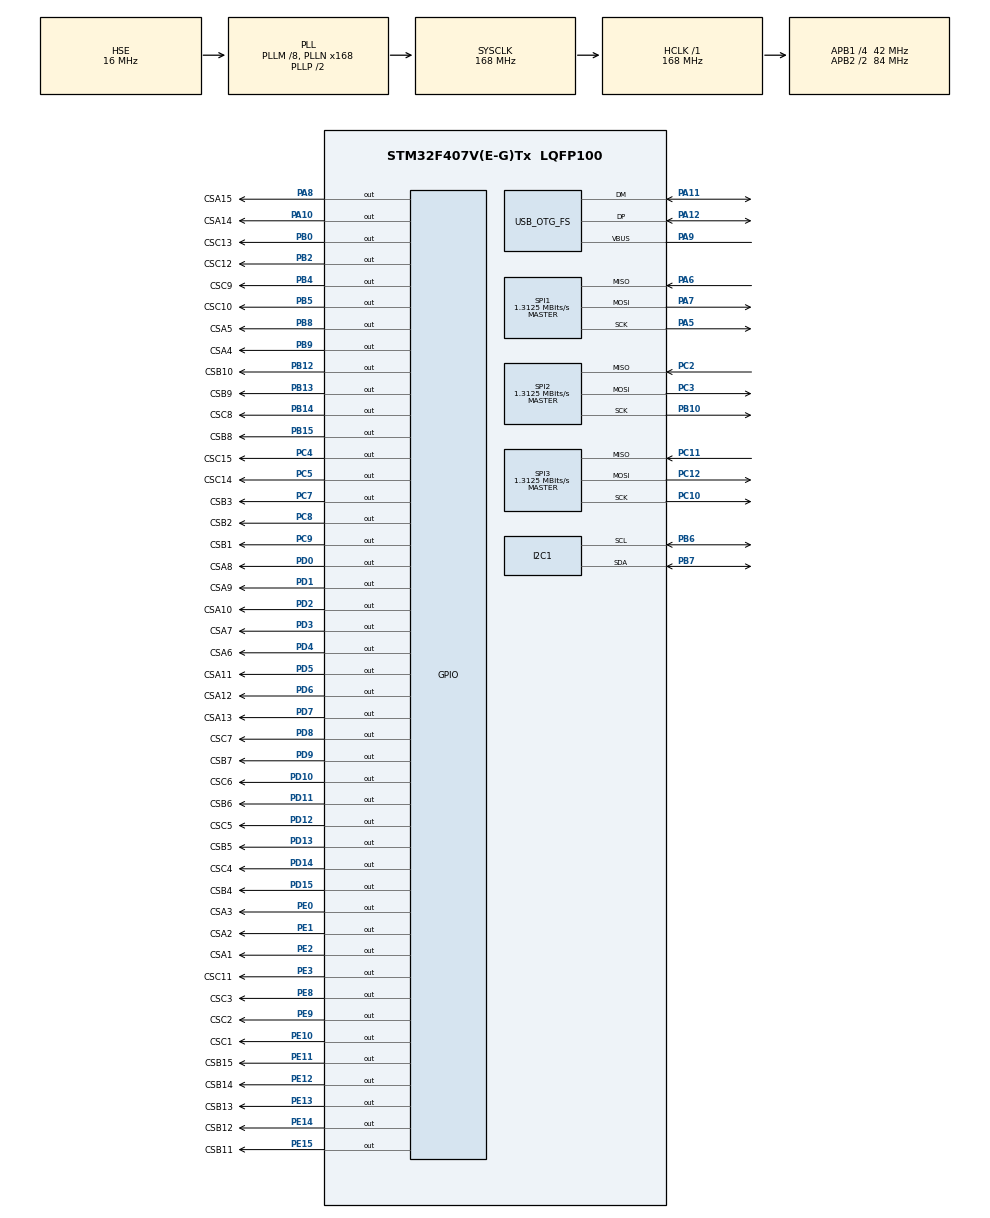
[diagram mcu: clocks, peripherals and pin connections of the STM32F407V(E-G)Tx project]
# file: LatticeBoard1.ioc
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Mcu.Family=STM32F4
Mcu.Name=STM32F407V(E-G)Tx
Mcu.Package=LQFP100
NVIC.OTG_FS_IRQn=true\:0\:0\:false\:false\:true\:false\:true\:true
NVIC.PriorityGroup=NVIC_PRIORITYGROUP_4
PA10.GPIO_Label=CSA14
PA10.GPIO_Speed=GPIO_SPEED_FREQ_HIGH
PA10.PinState=GPIO_PIN_SET
PA10.Signal=GPIO_Output
PA11.Mode=Device_Only
PA11.Signal=USB_OTG_FS_DM
PA12.Mode=Device_Only
PA12.Signal=USB_OTG_FS_DP
PA13.Mode=Trace_Asynchronous_SW
PA13.Signal=SYS_JTMS-SWDIO
PA14.Mode=Trace_Asynchronous_SW
PA14.Signal=SYS_JTCK-SWCLK
PA5.Mode=Full_Duplex_Master
PA5.Signal=SPI1_SCK
PA6.Mode=Full_Duplex_Master
PA6.Signal=SPI1_MISO
PA7.Mode=Full_Duplex_Master
PA7.Signal=SPI1_MOSI
PA8.GPIO_Label=CSA15
PA8.GPIO_Speed=GPIO_SPEED_FREQ_HIGH
PA8.PinState=GPIO_PIN_SET
PA8.Signal=GPIO_Output
PA9.Mode=Activate_VBUS
PA9.Signal=USB_OTG_FS_VBUS
PB0.GPIO_Label=CSC13
PB0.GPIO_Speed=GPIO_SPEED_FREQ_HIGH
PB0.PinState=GPIO_PIN_SET
PB0.Signal=GPIO_Output
PB10.Mode=Full_Duplex_Master
PB10.Signal=SPI2_SCK
PB12.GPIO_Label=CSB10
PB12.GPIO_Speed=GPIO_SPEED_FREQ_HIGH
PB12.PinState=GPIO_PIN_SET
PB12.Signal=GPIO_Output
PB13.GPIO_Label=CSB9
PB13.GPIO_Speed=GPIO_SPEED_FREQ_HIGH
PB13.PinState=GPIO_PIN_SET
PB13.Signal=GPIO_Output
PB14.GPIO_Label=CSC8
PB14.GPIO_Speed=GPIO_SPEED_FREQ_HIGH
PB14.PinState=GPIO_PIN_SET
PB14.Signal=GPIO_Output
PB15.GPIO_Label=CSB8
PB15.GPIO_Speed=GPIO_SPEED_FREQ_HIGH
PB15.PinState=GPIO_PIN_SET
PB15.Signal=GPIO_Output
PB2.GPIO_Label=CSC12
PB2.GPIO_Speed=GPIO_SPEED_FREQ_HIGH
PB2.PinState=GPIO_PIN_SET
PB2.Signal=GPIO_Output
PB3.Mode=Trace_Asynchronous_SW
PB3.Signal=SYS_JTDO-SWO
PB4.GPIO_Label=CSC9
PB4.GPIO_Speed=GPIO_SPEED_FREQ_HIGH
PB4.PinState=GPIO_PIN_SET
PB4.Signal=GPIO_Output
PB5.GPIO_Label=CSC10
PB5.GPIO_Speed=GPIO_SPEED_FREQ_HIGH
PB5.PinState=GPIO_PIN_SET
PB5.Signal=GPIO_Output
PB6.Mode=I2C
PB6.Signal=I2C1_SCL
PB7.Mode=I2C
PB7.Signal=I2C1_SDA
PB8.GPIO_Label=CSA5
PB8.GPIO_Speed=GPIO_SPEED_FREQ_HIGH
PB8.PinState=GPIO_PIN_SET
PB8.Signal=GPIO_Output
PB9.GPIO_Label=CSA4
PB9.GPIO_Speed=GPIO_SPEED_FREQ_HIGH
PB9.PinState=GPIO_PIN_SET
PB9.Signal=GPIO_Output
PC10.Mode=Full_Duplex_Master
PC10.Signal=SPI3_SCK
PC11.Mode=Full_Duplex_Master
PC11.Signal=SPI3_MISO
PC12.Mode=Full_Duplex_Master
PC12.Signal=SPI3_MOSI
PC2.Mode=Full_Duplex_Master
PC2.Signal=SPI2_MISO
PC3.Mode=Full_Duplex_Master
PC3.Signal=SPI2_MOSI
PC4.GPIO_Label=CSC15
PC4.GPIO_Speed=GPIO_SPEED_FREQ_HIGH
PC4.PinState=GPIO_PIN_SET
PC4.Signal=GPIO_Output
PC5.GPIO_Label=CSC14
PC5.GPIO_Speed=GPIO_SPEED_FREQ_HIGH
PC5.PinState=GPIO_PIN_SET
PC5.Signal=GPIO_Output
PC7.GPIO_Label=CSB3
PC7.GPIO_Speed=GPIO_SPEED_FREQ_HIGH
PC7.PinState=GPIO_PIN_SET
PC7.Signal=GPIO_Output
PC8.GPIO_Label=CSB2
PC8.GPIO_Speed=GPIO_SPEED_FREQ_HIGH
PC8.PinState=GPIO_PIN_SET
PC8.Signal=GPIO_Output
PC9.GPIO_Label=CSB1
PC9.GPIO_Speed=GPIO_SPEED_FREQ_HIGH
PC9.PinState=GPIO_PIN_SET
PC9.Signal=GPIO_Output
PD0.GPIO_Label=CSA8
PD0.GPIO_Speed=GPIO_SPEED_FREQ_HIGH
PD0.PinState=GPIO_PIN_SET
PD0.Signal=GPIO_Output
PD1.GPIO_Label=CSA9
PD1.GPIO_Speed=GPIO_SPEED_FREQ_HIGH
PD1.PinState=GPIO_PIN_SET
PD1.Signal=GPIO_Output
PD10.GPIO_Label=CSC6
PD10.GPIO_Speed=GPIO_SPEED_FREQ_HIGH
PD10.PinState=GPIO_PIN_SET
PD10.Signal=GPIO_Output
PD11.GPIO_Label=CSB6
PD11.GPIO_Speed=GPIO_SPEED_FREQ_HIGH
PD11.PinState=GPIO_PIN_SET
PD11.Signal=GPIO_Output
PD12.GPIO_Label=CSC5
PD12.GPIO_Speed=GPIO_SPEED_FREQ_HIGH
PD12.PinState=GPIO_PIN_SET
PD12.Signal=GPIO_Output
PD13.GPIO_Label=CSB5
PD13.GPIO_Speed=GPIO_SPEED_FREQ_HIGH
PD13.PinState=GPIO_PIN_SET
PD13.Signal=GPIO_Output
PD14.GPIO_Label=CSC4
PD14.GPIO_Speed=GPIO_SPEED_FREQ_HIGH
PD14.PinState=GPIO_PIN_SET
PD14.Signal=GPIO_Output
PD15.GPIO_Label=CSB4
PD15.GPIO_Speed=GPIO_SPEED_FREQ_HIGH
PD15.PinState=GPIO_PIN_SET
PD15.Signal=GPIO_Output
PD2.GPIO_Label=CSA10
PD2.GPIO_Speed=GPIO_SPEED_FREQ_HIGH
PD2.PinState=GPIO_PIN_SET
PD2.Signal=GPIO_Output
PD3.GPIO_Label=CSA7
PD3.GPIO_Speed=GPIO_SPEED_FREQ_HIGH
PD3.PinState=GPIO_PIN_SET
PD3.Signal=GPIO_Output
PD4.GPIO_Label=CSA6
PD4.GPIO_Speed=GPIO_SPEED_FREQ_HIGH
PD4.PinState=GPIO_PIN_SET
PD4.Signal=GPIO_Output
PD5.GPIO_Label=CSA11
PD5.GPIO_Speed=GPIO_SPEED_FREQ_HIGH
PD5.PinState=GPIO_PIN_SET
PD5.Signal=GPIO_Output
PD6.GPIO_Label=CSA12
PD6.GPIO_Speed=GPIO_SPEED_FREQ_HIGH
PD6.PinState=GPIO_PIN_SET
PD6.Signal=GPIO_Output
PD7.GPIO_Label=CSA13
PD7.GPIO_Speed=GPIO_SPEED_FREQ_HIGH
PD7.PinState=GPIO_PIN_SET
PD7.Signal=GPIO_Output
PD8.GPIO_Label=CSC7
PD8.GPIO_Speed=GPIO_SPEED_FREQ_HIGH
PD8.PinState=GPIO_PIN_SET
PD8.Signal=GPIO_Output
PD9.GPIO_Label=CSB7
PD9.GPIO_Speed=GPIO_SPEED_FREQ_HIGH
PD9.PinState=GPIO_PIN_SET
PD9.Signal=GPIO_Output
PE0.GPIO_Label=CSA3
PE0.GPIO_Speed=GPIO_SPEED_FREQ_HIGH
PE0.PinState=GPIO_PIN_SET
PE0.Signal=GPIO_Output
PE1.GPIO_Label=CSA2
PE1.GPIO_Speed=GPIO_SPEED_FREQ_HIGH
PE1.PinState=GPIO_PIN_SET
PE1.Signal=GPIO_Output
PE10.GPIO_Label=CSC1
PE10.GPIO_Speed=GPIO_SPEED_FREQ_HIGH
PE10.PinState=GPIO_PIN_SET
PE10.Signal=GPIO_Output
PE11.GPIO_Label=CSB15
PE11.GPIO_Speed=GPIO_SPEED_FREQ_HIGH
PE11.PinState=GPIO_PIN_SET
PE11.Signal=GPIO_Output
PE12.GPIO_Label=CSB14
PE12.GPIO_Speed=GPIO_SPEED_FREQ_HIGH
PE12.PinState=GPIO_PIN_SET
PE12.Signal=GPIO_Output
PE13.GPIO_Label=CSB13
PE13.GPIO_Speed=GPIO_SPEED_FREQ_HIGH
PE13.PinState=GPIO_PIN_SET
PE13.Signal=GPIO_Output
PE14.GPIO_Label=CSB12
PE14.GPIO_Speed=GPIO_SPEED_FREQ_HIGH
PE14.PinState=GPIO_PIN_SET
PE14.Signal=GPIO_Output
PE15.GPIO_Label=CSB11
PE15.GPIO_Speed=GPIO_SPEED_FREQ_HIGH
PE15.PinState=GPIO_PIN_SET
PE15.Signal=GPIO_Output
PE2.GPIO_Label=CSA1
PE2.GPIO_Speed=GPIO_SPEED_FREQ_HIGH
PE2.PinState=GPIO_PIN_SET
PE2.Signal=GPIO_Output
PE3.GPIO_Label=CSC11
PE3.GPIO_Speed=GPIO_SPEED_FREQ_HIGH
PE3.PinState=GPIO_PIN_SET
PE3.Signal=GPIO_Output
PE8.GPIO_Label=CSC3
PE8.GPIO_Speed=GPIO_SPEED_FREQ_HIGH
PE8.PinState=GPIO_PIN_SET
PE8.Signal=GPIO_Output
PE9.GPIO_Label=CSC2
PE9.GPIO_Speed=GPIO_SPEED_FREQ_HIGH
PE9.PinState=GPIO_PIN_SET
PE9.Signal=GPIO_Output
PH0-OSC_IN.Mode=HSE-External-Oscillator
PH0-OSC_IN.Signal=RCC_OSC_IN
PH1-OSC_OUT.Mode=HSE-External-Oscillator
PH1-OSC_OUT.Signal=RCC_OSC_OUT
ProjectManager.HeapSize=0x200
ProjectManager.StackSize=0x400
ProjectManager.TargetToolchain=STM32CubeIDE
RCC.48MHZClocksFreq_Value=48000000
RCC.AHBFreq_Value=168000000
RCC.APB1CLKDivider=RCC_HCLK_DIV4
RCC.APB1Freq_Value=42000000
RCC.APB1TimFreq_Value=84000000
RCC.APB2CLKDivider=RCC_HCLK_DIV2
RCC.APB2Freq_Value=84000000
RCC.APB2TimFreq_Value=168000000
RCC.CortexFreq_Value=168000000
RCC.HCLKFreq_Value=168000000
RCC.HSE_VALUE=16000000
RCC.HSI_VALUE=16000000
RCC.LSE_VALUE=32768
RCC.PLLM=8
RCC.PLLN=168
RCC.PLLQ=7
RCC.SYSCLKFreq_VALUE=168000000
RCC.SYSCLKSource=RCC_SYSCLKSOURCE_PLLCLK
RCC.VCOOutputFreq_Value=336000000
SPI1.BaudRatePrescaler=SPI_BAUDRATEPRESCALER_64
SPI1.CalculateBaudRate=1.3125 MBits/s
SPI1.Direction=SPI_DIRECTION_2LINES
SPI1.Mode=SPI_MODE_MASTER
SPI1.VirtualType=VM_MASTER
SPI2.BaudRatePrescaler=SPI_BAUDRATEPRESCALER_32
SPI2.CalculateBaudRate=1.3125 MBits/s
SPI2.Direction=SPI_DIRECTION_2LINES
SPI2.Mode=SPI_MODE_MASTER
SPI2.VirtualType=VM_MASTER
SPI3.BaudRatePrescaler=SPI_BAUDRATEPRESCALER_32
SPI3.CalculateBaudRate=1.3125 MBits/s
SPI3.Direction=SPI_DIRECTION_2LINES
SPI3.Mode=SPI_MODE_MASTER
SPI3.VirtualType=VM_MASTER
USB_DEVICE.CLASS_NAME_FS=CDC
USB_DEVICE.PRODUCT_STRING_CDC_FS=lattice-board
USB_DEVICE.VirtualMode-CDC_FS=Cdc
USB_DEVICE.VirtualModeFS=Cdc_FS
USB_OTG_FS.VirtualMode=Device_Only
VP_USB_DEVICE_VS_USB_DEVICE_CDC_FS.Mode=CDC_FS
board=custom

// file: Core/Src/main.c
/* USER CODE BEGIN Header */
/**
 ******************************************************************************
 * @file           : main.c
 * @brief          : Main program body
 ******************************************************************************
 * @attention
 *
 * Copyright (c) 2024 STMicroelectronics.
 * All rights reserved.
 *
 * This software is licensed under terms that can be found in the LICENSE file
 * in the root directory of this software component.
 * If no LICENSE file comes with this software, it is provided AS-IS.
 *
 ******************************************************************************
 */
/* USER CODE END Header */
#include "main.h"
#include "usb_device.h"

/* USER CODE BEGIN Includes */
#include "usbd_cdc_if.h"
#include "string.h"
/* USER CODE END Includes */

I2C_HandleTypeDef hi2c1;

SPI_HandleTypeDef hspi1;
SPI_HandleTypeDef hspi2;
SPI_HandleTypeDef hspi3;

void SystemClock_Config(void);
static void MX_GPIO_Init(void);
static void MX_I2C1_Init(void);
static void MX_SPI1_Init(void);
static void MX_SPI2_Init(void);
static void MX_SPI3_Init(void);

/* USER CODE BEGIN 0 */
#define LPS22HB_ADDRESS            0xBA

#define LPS22HB_DEVICE_NAME        0xB1

#define LPS22HB_REG_WHO_AM_I       0x0F
#define LPS22HB_REG_CTRL_REG1      0x10
#define LPS22HB_REG_CTRL_REG2      0x11
#define LPS22HB_REG_CTRL_REG3      0x12
#define LPS22HB_REG_RES_CONF       0x1A
#define LPS22HB_REG_STATUS         0x27
#define LPS22HB_REG_PRESS_OUT_XL   0x28
#define LPS22HB_REG_PRESS_OUT_L    0x29
#define LPS22HB_REG_PRESS_OUT_H    0x2A
#define LPS22HB_REG_TEMP_OUT_L     0x2B
#define LPS22HB_REG_TEMP_OUT_H     0x2C
#define LPS22HB_REG_LPFP_RES       0x33

SPI_HandleTypeDef *spiBusses[3] = { &hspi3, &hspi2, &hspi1 };
GPIO_TypeDef *chipSelectPorts[3][15] = { { CSA1_GPIO_Port, CSA2_GPIO_Port,

CSA3_GPIO_Port, CSA4_GPIO_Port, CSA5_GPIO_Port, CSA6_GPIO_Port, CSA7_GPIO_Port,
		CSA8_GPIO_Port, CSA9_GPIO_Port, CSA10_GPIO_Port, CSA11_GPIO_Port,
		CSA12_GPIO_Port, CSA13_GPIO_Port, CSA14_GPIO_Port, CSA15_GPIO_Port }, {
		CSB1_GPIO_Port, CSB2_GPIO_Port, CSB3_GPIO_Port,

		CSB4_GPIO_Port, CSB5_GPIO_Port, CSB6_GPIO_Port, CSB7_GPIO_Port,
		CSB8_GPIO_Port, CSB9_GPIO_Port, CSB10_GPIO_Port, CSB11_GPIO_Port,
		CSB12_GPIO_Port, CSB13_GPIO_Port, CSB14_GPIO_Port, CSB15_GPIO_Port }, {
		CSC1_GPIO_Port, CSC2_GPIO_Port, CSC3_GPIO_Port, CSC4_GPIO_Port,
		CSC5_GPIO_Port, CSC6_GPIO_Port, CSC7_GPIO_Port, CSC8_GPIO_Port,
		CSC9_GPIO_Port, CSC10_GPIO_Port, CSC11_GPIO_Port, CSC12_GPIO_Port,
		CSC13_GPIO_Port, CSC14_GPIO_Port, CSC15_GPIO_Port }, };
uint16_t chipSelectsPins[3][15] = { { CSA1_Pin, CSA2_Pin, CSA3_Pin, CSA4_Pin,
		CSA5_Pin, CSA6_Pin, CSA7_Pin, CSA8_Pin, CSA9_Pin, CSA10_Pin, CSA11_Pin,
		CSA12_Pin, CSA13_Pin, CSA14_Pin, CSA15_Pin }, { CSB1_Pin, CSB2_Pin,
		CSB3_Pin, CSB4_Pin, CSB5_Pin, CSB6_Pin, CSB7_Pin, CSB8_Pin, CSB9_Pin,
		CSB10_Pin, CSB11_Pin, CSB12_Pin, CSB13_Pin, CSB14_Pin, CSB15_Pin }, {
		CSC1_Pin, CSC2_Pin, CSC3_Pin, CSC4_Pin, CSC5_Pin, CSC6_Pin, CSC7_Pin,
		CSC8_Pin, CSC9_Pin, CSC10_Pin, CSC11_Pin, CSC12_Pin, CSC13_Pin,
		CSC14_Pin, CSC15_Pin }, };

void LPS22HB_WriteReg(uint8_t bus, uint16_t sel, uint8_t reg, uint8_t data) {
	HAL_GPIO_WritePin(chipSelectPorts[bus][sel], chipSelectsPins[bus][sel],
			GPIO_PIN_RESET);
	HAL_SPI_Transmit(spiBusses[bus], &reg, 1, HAL_MAX_DELAY);
	HAL_SPI_Transmit(spiBusses[bus], &data, 1, HAL_MAX_DELAY);
	HAL_GPIO_WritePin(chipSelectPorts[bus][sel], chipSelectsPins[bus][sel],
			GPIO_PIN_SET);
}

uint8_t LPS22HB_ReadReg(uint8_t bus, uint16_t sel, uint8_t reg) {
	uint8_t data = 0;
	uint8_t regRW = 0x80 | reg;
	HAL_GPIO_WritePin(chipSelectPorts[bus][sel], chipSelectsPins[bus][sel],
			GPIO_PIN_RESET);
	HAL_SPI_Transmit(spiBusses[bus], &regRW, 1, HAL_MAX_DELAY);
	HAL_SPI_Receive(spiBusses[bus], &data, 1, HAL_MAX_DELAY);
	HAL_GPIO_WritePin(chipSelectPorts[bus][sel], chipSelectsPins[bus][sel],
			GPIO_PIN_SET);
	return data;
}

void LPS22HB_ReadRegs(uint8_t bus, uint16_t sel, uint8_t reg, uint8_t *output,
		uint16_t len) {
	uint8_t regRW = 0x80 | reg;
	HAL_GPIO_WritePin(chipSelectPorts[bus][sel], chipSelectsPins[bus][sel],
			GPIO_PIN_RESET);
	HAL_SPI_Transmit(spiBusses[bus], &regRW, 1, HAL_MAX_DELAY);
	HAL_SPI_Receive(spiBusses[bus], output, len, HAL_MAX_DELAY);
	HAL_GPIO_WritePin(chipSelectPorts[bus][sel], chipSelectsPins[bus][sel],
			GPIO_PIN_SET);
}
/* USER CODE END 0 */

int main(void)
{

  /* MCU Configuration--------------------------------------------------------*/

  /* Reset of all peripherals, Initializes the Flash interface and the Systick. */
  HAL_Init();

  /* Configure the system clock */
  SystemClock_Config();

  /* Initialize all configured peripherals */
  MX_GPIO_Init();
  MX_I2C1_Init();
  MX_SPI1_Init();
  MX_SPI2_Init();
  MX_SPI3_Init();
  MX_USB_DEVICE_Init();
  /* USER CODE BEGIN 2 */
	HAL_Delay(1000);

	for (uint8_t b = 0; b < 3; b++) {
		for (uint8_t cs = 0; cs < 15; cs++) {
			uint8_t who_am_i = LPS22HB_ReadReg(b, cs, LPS22HB_REG_WHO_AM_I);
			if (who_am_i != LPS22HB_DEVICE_NAME) {
				while (1) {
				}
			}
			//reboot memory content
			//			LPS22HB_WriteReg(b, cs, LPS22HB_REG_CTRL_REG1, 0b10000000);
			//			//wait for reboot
			//			while (LPS22HB_ReadReg(b, cs, LPS22HB_REG_CTRL_REG1) >> 7) {
			//				HAL_Delay(10);
			//			}
			//			LPS22HB_WriteReg(b, cs, LPS22HB_REG_CTRL_REG1, 0b00000010);
			//			while ((LPS22HB_ReadReg(b, cs, LPS22HB_REG_CTRL_REG1) >> 1) & 1) {
			//				HAL_Delay(1);
			//			}
			//disable I2C
			LPS22HB_WriteReg(b, cs, LPS22HB_REG_CTRL_REG1, 0b00000100);

			//configure LPF to /2
			LPS22HB_WriteReg(b, cs, LPS22HB_REG_CTRL_REG1, 0b01011000);
			//reset filter
			LPS22HB_ReadReg(b, cs, LPS22HB_REG_LPFP_RES);
		}
	}
  /* USER CODE END 2 */

  /* Infinite loop */
  /* USER CODE BEGIN WHILE */
	while (1) {
		uint8_t data[225];
		for (uint8_t b = 0; b < 3; b++) {
			for (uint8_t cs = 0; cs < 15; cs++) {
				uint16_t index = 5 * (b * 15 + cs);
				LPS22HB_ReadRegs(b, cs, LPS22HB_REG_PRESS_OUT_XL, data + index,
						3);
				LPS22HB_ReadRegs(b, cs, LPS22HB_REG_TEMP_OUT_L,
						data + index + 3, 2);
			}
		}

		CDC_Transmit_FS(data, 225);

		HAL_Delay(26);
    /* USER CODE END WHILE */

	}
}

void SystemClock_Config(void)
{
  RCC_OscInitTypeDef RCC_OscInitStruct = {0};
  RCC_ClkInitTypeDef RCC_ClkInitStruct = {0};

  /** Configure the main internal regulator output voltage
  */
  __HAL_RCC_PWR_CLK_ENABLE();
  __HAL_PWR_VOLTAGESCALING_CONFIG(PWR_REGULATOR_VOLTAGE_SCALE1);

  /** Initializes the RCC Oscillators according to the specified parameters
  * in the RCC_OscInitTypeDef structure.
  */
  RCC_OscInitStruct.OscillatorType = RCC_OSCILLATORTYPE_HSE;
  RCC_OscInitStruct.HSEState = RCC_HSE_ON;
  RCC_OscInitStruct.PLL.PLLState = RCC_PLL_ON;
  RCC_OscInitStruct.PLL.PLLSource = RCC_PLLSOURCE_HSE;
  RCC_OscInitStruct.PLL.PLLM = 8;
  RCC_OscInitStruct.PLL.PLLN = 168;
  RCC_OscInitStruct.PLL.PLLP = RCC_PLLP_DIV2;
  RCC_OscInitStruct.PLL.PLLQ = 7;
  if (HAL_RCC_OscConfig(&RCC_OscInitStruct) != HAL_OK)
  {
    Error_Handler();
  }

  /** Initializes the CPU, AHB and APB buses clocks
  */
  RCC_ClkInitStruct.ClockType = RCC_CLOCKTYPE_HCLK|RCC_CLOCKTYPE_SYSCLK
                              |RCC_CLOCKTYPE_PCLK1|RCC_CLOCKTYPE_PCLK2;
  RCC_ClkInitStruct.SYSCLKSource = RCC_SYSCLKSOURCE_PLLCLK;
  RCC_ClkInitStruct.AHBCLKDivider = RCC_SYSCLK_DIV1;
  RCC_ClkInitStruct.APB1CLKDivider = RCC_HCLK_DIV4;
  RCC_ClkInitStruct.APB2CLKDivider = RCC_HCLK_DIV2;

  if (HAL_RCC_ClockConfig(&RCC_ClkInitStruct, FLASH_LATENCY_5) != HAL_OK)
  {
    Error_Handler();
  }
}

static void MX_I2C1_Init(void)
{

  hi2c1.Instance = I2C1;
  hi2c1.Init.ClockSpeed = 100000;
  hi2c1.Init.DutyCycle = I2C_DUTYCYCLE_2;
  hi2c1.Init.OwnAddress1 = 0;
  hi2c1.Init.AddressingMode = I2C_ADDRESSINGMODE_7BIT;
  hi2c1.Init.DualAddressMode = I2C_DUALADDRESS_DISABLE;
  hi2c1.Init.OwnAddress2 = 0;
  hi2c1.Init.GeneralCallMode = I2C_GENERALCALL_DISABLE;
  hi2c1.Init.NoStretchMode = I2C_NOSTRETCH_DISABLE;
  if (HAL_I2C_Init(&hi2c1) != HAL_OK)
  {
    Error_Handler();
  }

}

static void MX_SPI1_Init(void)
{

  /* SPI1 parameter configuration*/
  hspi1.Instance = SPI1;
  hspi1.Init.Mode = SPI_MODE_MASTER;
  hspi1.Init.Direction = SPI_DIRECTION_2LINES;
  hspi1.Init.DataSize = SPI_DATASIZE_8BIT;
  hspi1.Init.CLKPolarity = SPI_POLARITY_LOW;
  hspi1.Init.CLKPhase = SPI_PHASE_1EDGE;
  hspi1.Init.NSS = SPI_NSS_SOFT;
  hspi1.Init.BaudRatePrescaler = SPI_BAUDRATEPRESCALER_64;
  hspi1.Init.FirstBit = SPI_FIRSTBIT_MSB;
  hspi1.Init.TIMode = SPI_TIMODE_DISABLE;
  hspi1.Init.CRCCalculation = SPI_CRCCALCULATION_DISABLE;
  hspi1.Init.CRCPolynomial = 10;
  if (HAL_SPI_Init(&hspi1) != HAL_OK)
  {
    Error_Handler();
  }

}

static void MX_SPI2_Init(void)
{

  /* SPI2 parameter configuration*/
  hspi2.Instance = SPI2;
  hspi2.Init.Mode = SPI_MODE_MASTER;
  hspi2.Init.Direction = SPI_DIRECTION_2LINES;
  hspi2.Init.DataSize = SPI_DATASIZE_8BIT;
  hspi2.Init.CLKPolarity = SPI_POLARITY_LOW;
  hspi2.Init.CLKPhase = SPI_PHASE_1EDGE;
  hspi2.Init.NSS = SPI_NSS_SOFT;
  hspi2.Init.BaudRatePrescaler = SPI_BAUDRATEPRESCALER_32;
  hspi2.Init.FirstBit = SPI_FIRSTBIT_MSB;
  hspi2.Init.TIMode = SPI_TIMODE_DISABLE;
  hspi2.Init.CRCCalculation = SPI_CRCCALCULATION_DISABLE;
  hspi2.Init.CRCPolynomial = 10;
  if (HAL_SPI_Init(&hspi2) != HAL_OK)
  {
    Error_Handler();
  }

}

static void MX_SPI3_Init(void)
{

  /* SPI3 parameter configuration*/
  hspi3.Instance = SPI3;
  hspi3.Init.Mode = SPI_MODE_MASTER;
  hspi3.Init.Direction = SPI_DIRECTION_2LINES;
  hspi3.Init.DataSize = SPI_DATASIZE_8BIT;
  hspi3.Init.CLKPolarity = SPI_POLARITY_LOW;
  hspi3.Init.CLKPhase = SPI_PHASE_1EDGE;
  hspi3.Init.NSS = SPI_NSS_SOFT;
  hspi3.Init.BaudRatePrescaler = SPI_BAUDRATEPRESCALER_32;
  hspi3.Init.FirstBit = SPI_FIRSTBIT_MSB;
  hspi3.Init.TIMode = SPI_TIMODE_DISABLE;
  hspi3.Init.CRCCalculation = SPI_CRCCALCULATION_DISABLE;
  hspi3.Init.CRCPolynomial = 10;
  if (HAL_SPI_Init(&hspi3) != HAL_OK)
  {
    Error_Handler();
  }

}

static void MX_GPIO_Init(void)
{
  GPIO_InitTypeDef GPIO_InitStruct = {0};

  /* GPIO Ports Clock Enable */
  __HAL_RCC_GPIOE_CLK_ENABLE();
  __HAL_RCC_GPIOH_CLK_ENABLE();
  __HAL_RCC_GPIOC_CLK_ENABLE();
  __HAL_RCC_GPIOA_CLK_ENABLE();
  __HAL_RCC_GPIOB_CLK_ENABLE();
  __HAL_RCC_GPIOD_CLK_ENABLE();

  /*Configure GPIO pin Output Level */
  HAL_GPIO_WritePin(GPIOE, CSA1_Pin|CSC11_Pin|CSC3_Pin|CSC2_Pin
                          |CSC1_Pin|CSB15_Pin|CSB14_Pin|CSB13_Pin
                          |CSB12_Pin|CSB11_Pin|CSA3_Pin|CSA2_Pin, GPIO_PIN_SET);

  /*Configure GPIO pin Output Level */
  HAL_GPIO_WritePin(GPIOC, CSC15_Pin|CSC14_Pin|CSB3_Pin|CSB2_Pin
                          |CSB1_Pin, GPIO_PIN_SET);

  /*Configure GPIO pin Output Level */
  HAL_GPIO_WritePin(GPIOB, CSC13_Pin|CSC12_Pin|CSB10_Pin|CSB9_Pin
                          |CSC8_Pin|CSB8_Pin|CSC9_Pin|CSC10_Pin
                          |CSA5_Pin|CSA4_Pin, GPIO_PIN_SET);

  /*Configure GPIO pin Output Level */
  HAL_GPIO_WritePin(GPIOD, CSC7_Pin|CSB7_Pin|CSC6_Pin|CSB6_Pin
                          |CSC5_Pin|CSB5_Pin|CSC4_Pin|CSB4_Pin
                          |CSA8_Pin|CSA9_Pin|CSA10_Pin|CSA7_Pin
                          |CSA6_Pin|CSA11_Pin|CSA12_Pin|CSA13_Pin, GPIO_PIN_SET);

  /*Configure GPIO pin Output Level */
  HAL_GPIO_WritePin(GPIOA, CSA15_Pin|CSA14_Pin, GPIO_PIN_SET);

  /*Configure GPIO pins : CSA1_Pin CSC11_Pin CSC3_Pin CSC2_Pin
                           CSC1_Pin CSB15_Pin CSB14_Pin CSB13_Pin
                           CSB12_Pin CSB11_Pin CSA3_Pin CSA2_Pin */
  GPIO_InitStruct.Pin = CSA1_Pin|CSC11_Pin|CSC3_Pin|CSC2_Pin
                          |CSC1_Pin|CSB15_Pin|CSB14_Pin|CSB13_Pin
                          |CSB12_Pin|CSB11_Pin|CSA3_Pin|CSA2_Pin;
  GPIO_InitStruct.Mode = GPIO_MODE_OUTPUT_PP;
  GPIO_InitStruct.Pull = GPIO_NOPULL;
  GPIO_InitStruct.Speed = GPIO_SPEED_FREQ_HIGH;
  HAL_GPIO_Init(GPIOE, &GPIO_InitStruct);

  /*Configure GPIO pins : CSC15_Pin CSC14_Pin CSB3_Pin CSB2_Pin
                           CSB1_Pin */
  GPIO_InitStruct.Pin = CSC15_Pin|CSC14_Pin|CSB3_Pin|CSB2_Pin
                          |CSB1_Pin;
  GPIO_InitStruct.Mode = GPIO_MODE_OUTPUT_PP;
  GPIO_InitStruct.Pull = GPIO_NOPULL;
  GPIO_InitStruct.Speed = GPIO_SPEED_FREQ_HIGH;
  HAL_GPIO_Init(GPIOC, &GPIO_InitStruct);

  /*Configure GPIO pins : CSC13_Pin CSC12_Pin CSB10_Pin CSB9_Pin
                           CSC8_Pin CSB8_Pin CSC9_Pin CSC10_Pin
                           CSA5_Pin CSA4_Pin */
  GPIO_InitStruct.Pin = CSC13_Pin|CSC12_Pin|CSB10_Pin|CSB9_Pin
                          |CSC8_Pin|CSB8_Pin|CSC9_Pin|CSC10_Pin
                          |CSA5_Pin|CSA4_Pin;
  GPIO_InitStruct.Mode = GPIO_MODE_OUTPUT_PP;
  GPIO_InitStruct.Pull = GPIO_NOPULL;
  GPIO_InitStruct.Speed = GPIO_SPEED_FREQ_HIGH;
  HAL_GPIO_Init(GPIOB, &GPIO_InitStruct);

  /*Configure GPIO pins : CSC7_Pin CSB7_Pin CSC6_Pin CSB6_Pin
                           CSC5_Pin CSB5_Pin CSC4_Pin CSB4_Pin
                           CSA8_Pin CSA9_Pin CSA10_Pin CSA7_Pin
                           CSA6_Pin CSA11_Pin CSA12_Pin CSA13_Pin */
  GPIO_InitStruct.Pin = CSC7_Pin|CSB7_Pin|CSC6_Pin|CSB6_Pin
                          |CSC5_Pin|CSB5_Pin|CSC4_Pin|CSB4_Pin
                          |CSA8_Pin|CSA9_Pin|CSA10_Pin|CSA7_Pin
                          |CSA6_Pin|CSA11_Pin|CSA12_Pin|CSA13_Pin;
  GPIO_InitStruct.Mode = GPIO_MODE_OUTPUT_PP;
  GPIO_InitStruct.Pull = GPIO_NOPULL;
  GPIO_InitStruct.Speed = GPIO_SPEED_FREQ_HIGH;
  HAL_GPIO_Init(GPIOD, &GPIO_InitStruct);

  /*Configure GPIO pins : CSA15_Pin CSA14_Pin */
  GPIO_InitStruct.Pin = CSA15_Pin|CSA14_Pin;
  GPIO_InitStruct.Mode = GPIO_MODE_OUTPUT_PP;
  GPIO_InitStruct.Pull = GPIO_NOPULL;
  GPIO_InitStruct.Speed = GPIO_SPEED_FREQ_HIGH;
  HAL_GPIO_Init(GPIOA, &GPIO_InitStruct);

}

void Error_Handler(void)
{
	__disable_irq();
	while (1) {
	}
}
